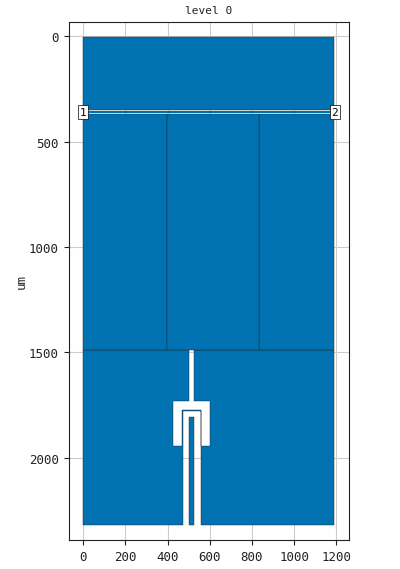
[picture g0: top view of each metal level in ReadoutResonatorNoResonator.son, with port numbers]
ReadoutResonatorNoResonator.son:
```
FTYP SONPROJ 15 ! Sonnet Project File
VER 16.52
HEADER
LIC calt2.2.43068 b6ae2bd1257f DESKTOP-SL82IK9 Michael
DAT 07/20/2016 18:06:04
BUILT_BY_CREATED xgeom 16.52 04/11/2016 14:48:12
BUILT_BY_SAVED xgeom 16.52
MDATE 07/20/2016 18:06:04
HDATE 07/20/2016 18:06:04
END HEADER
DIM
FREQ GHZ
IND NH
LNG UM
ANG DEG
CON /OH
CAP PF
RES OH
END DIM
FREQ
ABS 2.0 10.0 
END FREQ
CONTROL
ABS
OPTIONS  -d 
SPEED 0
CACHE_ABS 1
TARG_ABS 300
Q_ACC Y
DET_ABS_RES Y
END CONTROL
GEO
TMET "Lossless" 0 SUP 0 0 0 0
BMET "Lossless" 0 SUP 0 0 0 0
MET "Unknown_metal" 1 NOR INF 0 0 
BOX 1 1192 2320 1192 2320 20 0
      1000 1 1 0 0 0 0 "Unnamed"
      500 11.9 1 5e-006 0 0 0 "Silicon (intrinsic)"
LORGN 0 2320 U 
POR1 STD
POLY 10 1
1
1 50 0 0 0 0 359 
POR1 STD
POLY 10 1
3
2 50 0 0 0 1191.999909 359 
NUM 8
0 5 -1 N 10 1 1 100 100 0 0 0 Y
1191.999909 354
0 354
0 364
1191.999909 364
1191.999909 354
END
0 5 -1 N 13 1 1 100 100 0 0 0 Y
1191 3
0 3
0 348
1191 348
1191 3
END
0 5 -1 N 14 1 1 100 100 0 0 0 Y
526 1806
502 1806
502 2319
526 2319
526 1806
END
0 109 -1 N 17 1 1 100 100 0 0 0 Y
472 1776
556 1776
556 1942
558 1942
558 1774
470 1774
470 1942
426 1942
426 1730
503 1730
503 1728.35
503 1725.8
503 1723.24
503 1720.69
503 1718.14
503 1715.59
503 1713.04
503 1710.49
503 1707.94
503 1705.39
503 1702.84
503 1700.28
503 1697.73
503 1695.18
503 1692.63
503 1690.08
503 1687.53
503 1684.98
503 1682.43
503 1679.88
503 1677.33
503 1674.78
503 1672.22
503 1669.67
503 1667.12
503 1664.57
503 1662.02
503 1659.47
503 1656.92
503 1654.37
503 1651.81
503 1649.26
503 1646.71
503 1644.16
503 1641.61
503 1639.06
503 1636.51
503 1633.96
503 1631.41
503 1628.86
503 1626.31
503 1623.75
503 1621.2
503 1618.65
503 1616.1
503 1613.55
503 1611
503 1608.45
503 1605.9
503 1603.35
503 1600.8
503 1598.24
503 1595.69
503 1593.14
503 1590.59
503 1588.04
503 1585.49
503 1582.94
503 1580.39
503 1577.84
503 1575.28
503 1572.73
503 1570.18
503 1567.63
503 1565.08
503 1562.53
503 1559.98
503 1557.43
503 1554.88
503 1552.33
503 1549.77
503 1547.22
503 1544.67
503 1542.12
503 1539.57
503 1537.02
503 1534.47
503 1531.92
503 1529.37
503 1526.81
503 1524.26
503 1521.71
503 1519.16
503 1516.61
503 1514.06
503 1511.51
503 1508.96
503 1506.41
503 1503.86
503 1501.3
503 1498.75
503 1496.2
503 1493.65
503 1491.1
503 1490
0 1490
0 2319
472 2319
472 1776
END
0 103 -1 N 18 1 1 100 100 0 0 0 Y
1191 1490
525 1490
525 1491.1
525 1493.65
525 1496.2
525 1498.75
525 1501.31
525 1503.86
525 1506.41
525 1508.96
525 1511.51
525 1514.06
525 1516.61
525 1519.16
525 1521.71
525 1524.26
525 1526.82
525 1529.37
525 1531.92
525 1534.47
525 1537.02
525 1539.57
525 1542.12
525 1544.67
525 1547.22
525 1549.78
525 1552.33
525 1554.88
525 1557.43
525 1559.98
525 1562.53
525 1565.08
525 1567.63
525 1570.18
525 1572.73
525 1575.28
525 1577.84
525 1580.39
525 1582.94
525 1585.49
525 1588.04
525 1590.59
525 1593.14
525 1595.69
525 1598.24
525 1600.8
525 1603.35
525 1605.9
525 1608.45
525 1611
525 1613.55
525 1616.1
525 1618.65
525 1621.2
525 1623.75
525 1626.31
525 1628.86
525 1631.41
525 1633.96
525 1636.51
525 1639.06
525 1641.61
525 1644.16
525 1646.71
525 1649.26
525 1651.82
525 1654.37
525 1656.92
525 1659.47
525 1662.02
525 1664.57
525 1667.12
525 1669.67
525 1672.22
525 1674.77
525 1677.33
525 1679.88
525 1682.43
525 1684.98
525 1687.53
525 1690.08
525 1692.63
525 1695.18
525 1697.73
525 1700.28
525 1702.84
525 1705.39
525 1707.94
525 1710.49
525 1713.04
525 1715.59
525 1718.14
525 1720.69
525 1723.24
525 1725.8
525 1728.35
525 1730
602 1730
602 1942
556 1942
556 2319
1191 2319
1191 1490
END
0 5 -1 N 19 1 1 100 100 0 0 0 Y
396 370
0 370
0 1490
396 1490
396 370
END
0 7 -1 N 21 1 1 100 100 0 0 0 Y
1191 686
1191 436
1191 370
834 370
834 1490
1191 1490
1191 686
END
0 5 -1 N 27 1 1 100 100 0 0 0 Y
396 370
834 370
834 1490
396 1490
396 370
END
END GEO
OPT
MAX 100
VARS
END
END OPT
VARSWP
END VARSWP
```
